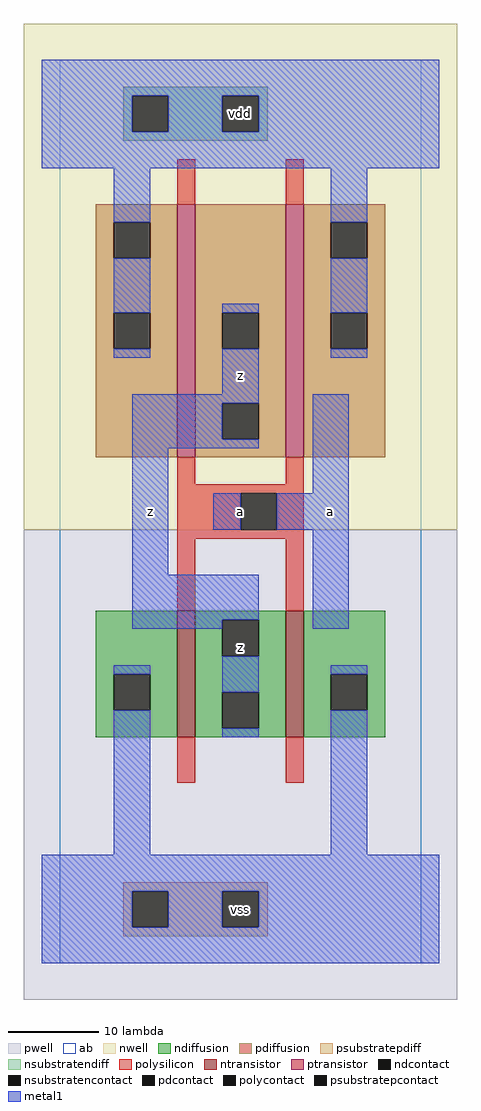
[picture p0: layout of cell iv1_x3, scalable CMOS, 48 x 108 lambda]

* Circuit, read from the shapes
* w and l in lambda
.subckt iv1_x3 a vdd vss z
M1 z a vss vss nfet w=14 l=2 m=2
M2 z a vdd vdd pfet w=28 l=2 m=2
.ends

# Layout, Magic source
magic
tech scmos
<< ab >>
rect 0 0 40 100
<< pwell >>
rect -4 -4 44 48
<< nwell >>
rect -4 48 44 104
<< polysilicon >>
rect 13 84 15 89
rect 25 84 27 89
rect 13 53 15 56
rect 25 53 27 56
rect 13 52 27 53
rect 13 48 20 52
rect 24 48 27 52
rect 13 47 27 48
rect 13 39 15 47
rect 25 39 27 47
rect 13 20 15 25
rect 25 20 27 25
<< ndiffusion >>
rect 4 32 13 39
rect 4 28 6 32
rect 10 28 13 32
rect 4 25 13 28
rect 15 38 25 39
rect 15 34 18 38
rect 22 34 25 38
rect 15 30 25 34
rect 15 26 18 30
rect 22 26 25 30
rect 15 25 25 26
rect 27 32 36 39
rect 27 28 30 32
rect 34 28 36 32
rect 27 25 36 28
<< pdiffusion >>
rect 4 82 13 84
rect 4 78 6 82
rect 10 78 13 82
rect 4 72 13 78
rect 4 68 6 72
rect 10 68 13 72
rect 4 56 13 68
rect 15 72 25 84
rect 15 68 18 72
rect 22 68 25 72
rect 15 62 25 68
rect 15 58 18 62
rect 22 58 25 62
rect 15 56 25 58
rect 27 82 36 84
rect 27 78 30 82
rect 34 78 36 82
rect 27 72 36 78
rect 27 68 30 72
rect 34 68 36 72
rect 27 56 36 68
<< metal1 >>
rect -2 96 42 100
rect -2 92 8 96
rect 12 92 18 96
rect 22 92 42 96
rect -2 88 42 92
rect 6 82 10 88
rect 6 72 10 78
rect 30 82 34 88
rect 6 67 10 68
rect 18 72 22 73
rect 18 63 22 68
rect 30 72 34 78
rect 30 67 34 68
rect 8 62 22 63
rect 8 58 18 62
rect 8 57 22 58
rect 8 43 12 57
rect 28 52 32 63
rect 17 48 20 52
rect 24 48 32 52
rect 8 38 22 43
rect 8 37 18 38
rect 28 37 32 48
rect 6 32 10 33
rect 6 12 10 28
rect 18 30 22 34
rect 18 25 22 26
rect 30 32 34 33
rect 30 12 34 28
rect -2 8 42 12
rect -2 4 8 8
rect 12 4 18 8
rect 22 4 42 8
rect -2 0 42 4
<< ntransistor >>
rect 13 25 15 39
rect 25 25 27 39
<< ptransistor >>
rect 13 56 15 84
rect 25 56 27 84
<< polycontact >>
rect 20 48 24 52
<< ndcontact >>
rect 6 28 10 32
rect 18 34 22 38
rect 18 26 22 30
rect 30 28 34 32
<< pdcontact >>
rect 6 78 10 82
rect 6 68 10 72
rect 18 68 22 72
rect 18 58 22 62
rect 30 78 34 82
rect 30 68 34 72
<< psubstratepcontact >>
rect 8 4 12 8
rect 18 4 22 8
<< nsubstratencontact >>
rect 8 92 12 96
rect 18 92 22 96
<< psubstratepdiff >>
rect 7 8 23 9
rect 7 4 8 8
rect 12 4 18 8
rect 22 4 23 8
rect 7 3 23 4
<< nsubstratendiff >>
rect 7 96 23 97
rect 7 92 8 96
rect 12 92 18 96
rect 22 92 23 96
rect 7 91 23 92
<< labels >>
rlabel metal1 10 50 10 50 6 z
rlabel psubstratepcontact 20 6 20 6 6 vss
rlabel ndcontact 20 35 20 35 6 z
rlabel metal1 20 50 20 50 6 a
rlabel metal1 20 65 20 65 6 z
rlabel nsubstratencontact 20 94 20 94 6 vdd
rlabel metal1 30 50 30 50 6 a
<< end >>
